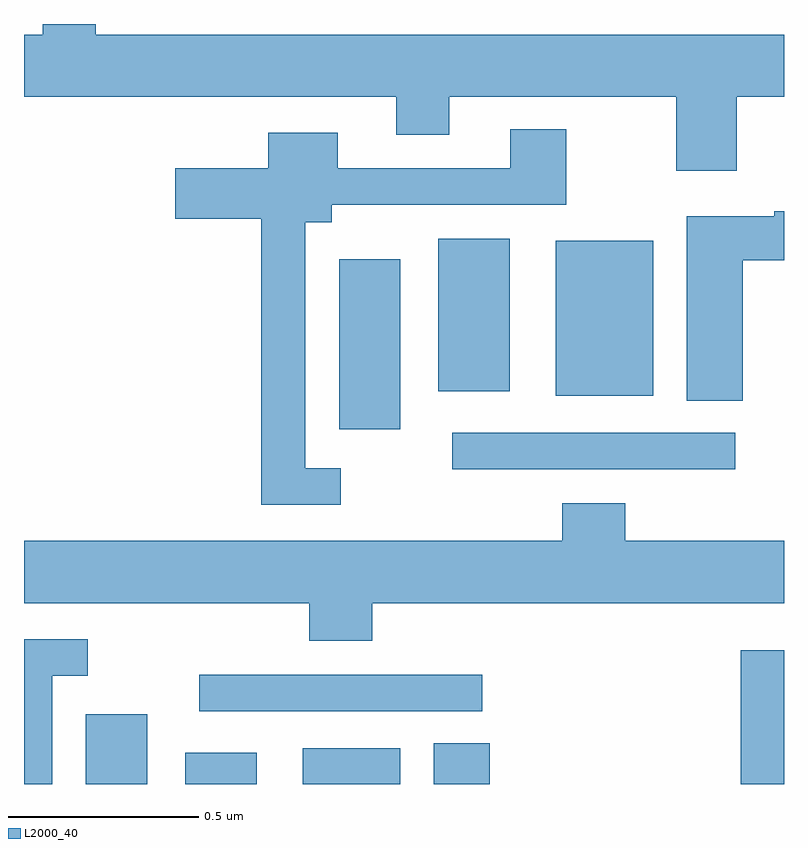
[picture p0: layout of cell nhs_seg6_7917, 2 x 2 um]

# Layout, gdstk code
import gdstk
lib = gdstk.Library(unit=1e-6, precision=1e-09)
def R(c, l, rs):  # rectangles x0, y0, x1, y1
    for r in rs: c.add(gdstk.rectangle(r[:2], r[2:], *l))
def P(c, l, *ps):  # polygons
    for p in ps: c.add(gdstk.Polygon(p, *l))
L2000_40 = (2000, 40)

nhs_seg6_7917 = lib.new_cell('nhs_seg6_7917')
R(nhs_seg6_7917, L2000_40, [(214.163,973.5,214.324,973.684), (214.424,973.5,214.612,973.582), (214.733,973.5,214.99,973.594), (215.078,973.5,215.225,973.607), (215.886,973.5,216,973.852), (214.461,973.692,215.206,973.788), (215.127,974.328,215.872,974.424), (214.829,974.433,214.99,974.881), (215.399,974.522,215.656,974.929), (215.09,974.534,215.278,974.935)])
P(nhs_seg6_7917, L2000_40, [(215.876,975.308),(216,975.308),(216,975.472),(214.189,975.472),(214.189,975.5),(214.049,975.5),(214.049,975.472),(214,975.472),(214,975.308),(214.979,975.308),(214.979,975.209),(215.119,975.209),(215.119,975.308),(215.716,975.308),(215.716,975.114),(215.876,975.114)],
  [(214.834,974.331),(214.74,974.331),(214.74,974.978),(214.81,974.978),(214.81,975.024),(215.427,975.024),(215.427,975.223),(215.279,975.223),(215.279,975.12),(214.825,975.12),(214.825,975.214),(214.643,975.214),(214.643,975.121),(214.398,975.121),(214.398,974.987),(214.624,974.987),(214.624,974.235),(214.834,974.235)],
  [(215.891,974.878),(216,974.878),(216,975.007),(215.974,975.007),(215.974,974.994),(215.744,974.994),(215.744,974.509),(215.891,974.509)],
  [(214.916,973.976),(216,973.976),(216,974.14),(215.582,974.14),(215.582,974.239),(215.417,974.239),(215.417,974.14),(214,974.14),(214,973.976),(214.751,973.976),(214.751,973.877),(214.916,973.877)],
  [(214.074,973.785),(214.168,973.785),(214.168,973.881),(214,973.881),(214,973.5),(214.074,973.5)])

lib.write_gds('nhs_seg6_7917.gds')
